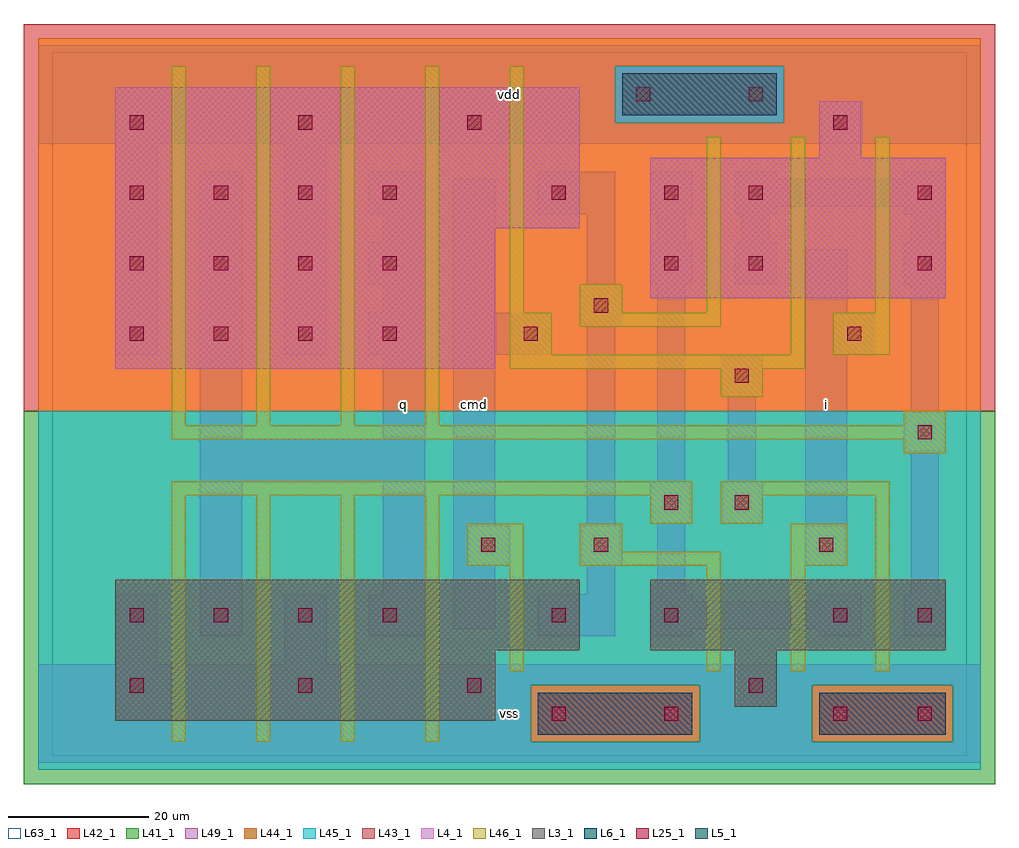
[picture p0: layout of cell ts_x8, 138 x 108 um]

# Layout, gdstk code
import gdstk
lib = gdstk.Library(unit=1e-6, precision=1e-09)
def R(c, l, rs):  # rectangles x0, y0, x1, y1
    for r in rs: c.add(gdstk.rectangle(r[:2], r[2:], *l))
def A(c, l, x, y, w, h, nx, ny, dx, dy):  # array of equal rectangles
    R(c, l, [(x+i*dx, y+j*dy, x+i*dx+w, y+j*dy+h) for i in range(nx) for j in range(ny)])
L3_1 = (3, 1)
L4_1 = (4, 1)
L5_1 = (5, 1)
L6_1 = (6, 1)
L25_1 = (25, 1)
L41_1 = (41, 1)
L42_1 = (42, 1)
L43_1 = (43, 1)
L44_1 = (44, 1)
L45_1 = (45, 1)
L46_1 = (46, 1)
L49_1 = (49, 1)
L63_1 = (63, 1)

ts_x8 = lib.new_cell('ts_x8')
R(ts_x8, L3_1, [(9,5,63,15), (97,7,103,15), (9,15,75,25), (85,15,127,25)])
R(ts_x8, L4_1, [(9,55,63,75), (85,65,127,85), (9,75,75,95), (109,85,115,93)])
R(ts_x8, L5_1, [(81,91,103,97)])
R(ts_x8, L6_1, [(69,3,91,9), (109,3,127,9)])
A(ts_x8, L25_1, 11, 9, 2, 2, 3, 2, 24, 80)
A(ts_x8, L25_1, 11, 19, 2, 2, 4, 2, 12, 40)
A(ts_x8, L25_1, 11, 69, 2, 2, 4, 2, 12, 10)
R(ts_x8, L25_1, [(71,5,73,7), (87,5,89,7), (111,5,113,7), (123,5,125,7), (99,9,101,11), (71,19,73,21), (87,19,89,21), (111,19,113,21), (123,19,125,21), (61,29,63,31), (77,29,79,31), (109,29,111,31), (87,35,89,37), (97,35,99,37), (123,45,125,47), (97,53,99,55), (67,59,69,61), (113,59,115,61), (77,63,79,65), (87,69,89,71), (99,69,101,71), (123,69,125,71), (71,79,73,81), (87,79,89,81), (99,79,101,81), (123,79,125,81), (111,89,113,91), (83,93,85,95), (99,93,101,95)])
R(ts_x8, L41_1, [(-4,-4,134,49)])
R(ts_x8, L42_1, [(-4,49,134,104)])
R(ts_x8, L43_1, [(69,3,91,9), (109,3,127,9), (9,5,63,15), (97,7,103,15), (9,15,75,25), (85,15,127,25), (9,55,63,75), (85,65,127,85), (9,75,75,95), (109,85,115,93), (81,91,103,97)])
R(ts_x8, L44_1, [(68,2,92,10), (108,2,128,10), (-2,49,132,90), (-2,90,80,98), (104,90,132,98), (-2,98,132,102)])
R(ts_x8, L45_1, [(-2,-2,132,2), (-2,2,68,10), (92,2,108,10), (128,2,132,10), (-2,10,132,49), (80,90,104,98)])
A(ts_x8, L46_1, 17, 2, 2, 35, 4, 1, 12, 0)
A(ts_x8, L46_1, 17, 47, 2, 51, 4, 1, 12, 0)
R(ts_x8, L46_1, [(65,12,67,27), (93,12,95,27), (105,12,107,27), (117,12,119,37), (59,27,67,33), (75,27,95,29), (105,27,113,33), (75,29,81,33), (85,33,91,37), (95,33,101,37), (17,37,91,39), (95,37,119,39), (121,43,127,45), (17,45,127,47), (121,47,127,49), (95,51,101,55), (65,55,107,57), (65,57,71,63), (105,57,107,88), (111,57,119,63), (75,61,95,63), (65,63,67,98), (75,63,81,67), (93,63,95,88), (117,63,119,88)])
A(ts_x8, L49_1, 45, 57, 8, 6, 1, 3, 0, 10)
R(ts_x8, L49_1, [(-2,-1,132,13), (9,13,15,23), (33,13,39,23), (21,17,27,39), (45,17,53,23), (69,17,80,23), (85,17,91,18), (109,17,115,18), (121,17,127,23), (57,18,63,27), (85,18,115,22), (85,22,91,23), (109,22,115,23), (47,23,53,39), (76,23,80,27), (86,23,90,33), (122,23,126,43), (57,27,65,33), (75,27,81,33), (107,27,113,57), (57,33,63,57), (76,33,80,61), (85,33,91,39), (95,33,101,39), (21,39,53,45), (86,39,90,67), (96,39,100,51), (121,43,127,49), (21,45,27,83), (47,45,53,57), (122,49,126,67), (95,51,101,57), (9,57,15,87), (33,57,39,87), (57,57,71,63), (107,57,117,63), (75,61,81,67), (47,63,53,67), (57,63,63,82), (107,63,113,72), (76,67,80,77), (85,67,91,73), (97,67,103,73), (121,67,127,73), (47,73,53,77), (86,73,90,77), (98,73,102,77), (122,73,126,77), (69,77,80,83), (85,77,91,83), (97,77,103,78), (121,77,127,78), (97,78,127,82), (97,82,103,83), (121,82,127,83), (-2,87,132,101)])
R(ts_x8, L63_1, [(0,0,130,100)])
ts_x8.add(gdstk.Label('q', (50,50), layer=49, texttype=1))
ts_x8.add(gdstk.Label('cmd', (60,50), layer=49, texttype=1))
ts_x8.add(gdstk.Label('cmd', (60,50), layer=49, texttype=1))
ts_x8.add(gdstk.Label('q', (50,50), layer=49, texttype=1))
ts_x8.add(gdstk.Label('vss', (65,6), layer=49, texttype=1))
ts_x8.add(gdstk.Label('vss', (65,6), layer=49, texttype=1))
ts_x8.add(gdstk.Label('vdd', (65,94), layer=49, texttype=1))
ts_x8.add(gdstk.Label('vdd', (65,94), layer=49, texttype=1))
ts_x8.add(gdstk.Label('i', (110,50), layer=49, texttype=1))
ts_x8.add(gdstk.Label('i', (110,50), layer=49, texttype=1))

lib.write_gds('ts_x8.gds')
